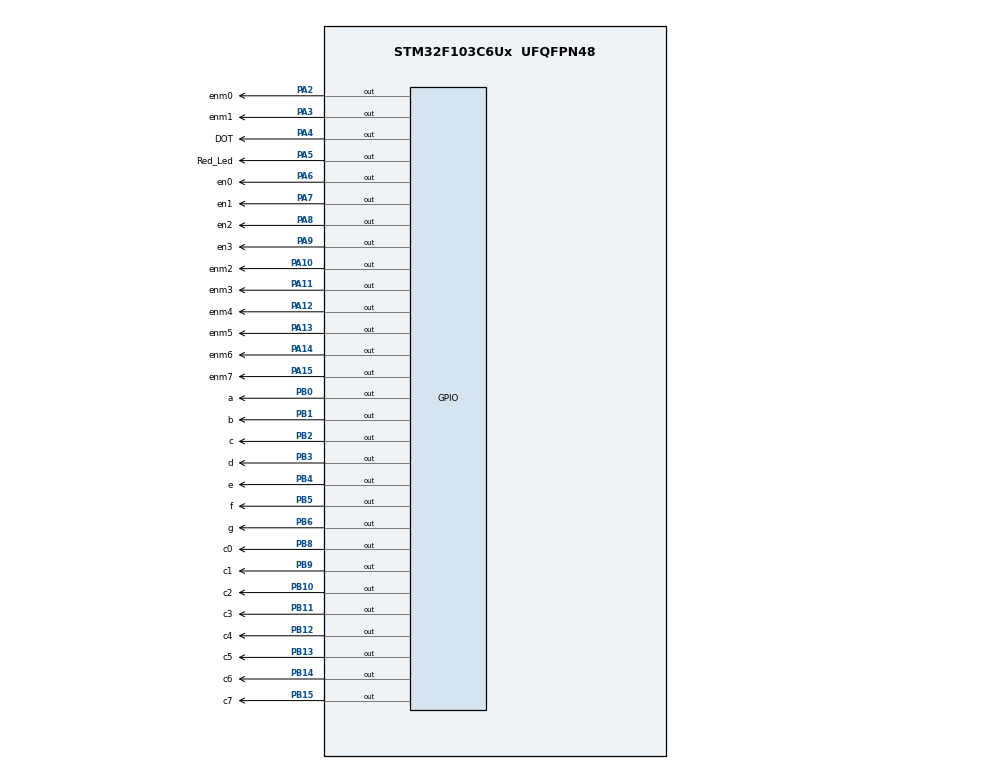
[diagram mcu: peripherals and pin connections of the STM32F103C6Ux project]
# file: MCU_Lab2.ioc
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Mcu.Family=STM32F1
Mcu.Name=STM32F103C6Ux
Mcu.Package=UFQFPN48
NVIC.PriorityGroup=NVIC_PRIORITYGROUP_4
NVIC.TIM2_IRQn=true\:0\:0\:false\:false\:true\:true\:true
PA10.GPIO_Label=enm2
PA10.Signal=GPIO_Output
PA11.GPIO_Label=enm3
PA11.Signal=GPIO_Output
PA12.GPIO_Label=enm4
PA12.Signal=GPIO_Output
PA13.GPIO_Label=enm5
PA13.Signal=GPIO_Output
PA14.GPIO_Label=enm6
PA14.Signal=GPIO_Output
PA15.GPIO_Label=enm7
PA15.Signal=GPIO_Output
PA2.GPIO_Label=enm0
PA2.Signal=GPIO_Output
PA3.GPIO_Label=enm1
PA3.Signal=GPIO_Output
PA4.GPIO_Label=DOT
PA4.Signal=GPIO_Output
PA5.GPIO_Label=Red_Led
PA5.Signal=GPIO_Output
PA6.GPIO_Label=en0
PA6.Signal=GPIO_Output
PA7.GPIO_Label=en1
PA7.Signal=GPIO_Output
PA8.GPIO_Label=en2
PA8.Signal=GPIO_Output
PA9.GPIO_Label=en3
PA9.Signal=GPIO_Output
PB0.GPIO_Label=a
PB0.Signal=GPIO_Output
PB1.GPIO_Label=b
PB1.Signal=GPIO_Output
PB10.GPIO_Label=c2
PB10.Signal=GPIO_Output
PB11.GPIO_Label=c3
PB11.Signal=GPIO_Output
PB12.GPIO_Label=c4
PB12.Signal=GPIO_Output
PB13.GPIO_Label=c5
PB13.Signal=GPIO_Output
PB14.GPIO_Label=c6
PB14.Signal=GPIO_Output
PB15.GPIO_Label=c7
PB15.Signal=GPIO_Output
PB2.GPIO_Label=c
PB2.Signal=GPIO_Output
PB3.GPIO_Label=d
PB3.Signal=GPIO_Output
PB4.GPIO_Label=e
PB4.Signal=GPIO_Output
PB5.GPIO_Label=f
PB5.Signal=GPIO_Output
PB6.GPIO_Label=g
PB6.Signal=GPIO_Output
PB8.GPIO_Label=c0
PB8.Signal=GPIO_Output
PB9.GPIO_Label=c1
PB9.Signal=GPIO_Output
ProjectManager.HeapSize=0x200
ProjectManager.StackSize=0x400
ProjectManager.TargetToolchain=STM32CubeIDE
RCC.APB1Freq_Value=8000000
RCC.APB2Freq_Value=8000000
TIM2.Period=9
TIM2.Prescaler=7999
VP_SYS_VS_ND.Mode=No_Debug
VP_TIM2_VS_ClockSourceINT.Mode=Internal
board=custom

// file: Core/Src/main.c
/* USER CODE BEGIN Header */
/**
  ******************************************************************************
  * @file           : main.c
  * @brief          : Main program body
  ******************************************************************************
  * @attention
  *
  * <h2><center>&copy; Copyright (c) 2025 STMicroelectronics.
  * All rights reserved.</center></h2>
  *
  * This software component is licensed by ST under BSD 3-Clause license,
  * the "License"; You may not use this file except in compliance with the
  * License. You may obtain a copy of the License at:
  *                        opensource.org/licenses/BSD-3-Clause
  *
  ******************************************************************************
  */
/* USER CODE END Header */
#include "main.h"

/* USER CODE BEGIN Includes */
#include "In_timer.h"
/* USER CODE END Includes */

TIM_HandleTypeDef htim2;

void SystemClock_Config(void);
static void MX_GPIO_Init(void);
static void MX_TIM2_Init(void);

/* USER CODE BEGIN 0 */
void display7SEG(int num, int a, int b, int c, int d, int e, int f, int g) {
    // Tắt hết các segment trước
    HAL_GPIO_WritePin(GPIOB, a|b|c|d|e|f|g, GPIO_PIN_SET);

    // Bật theo số cần hiển thị
    switch(num) {
        case 0: HAL_GPIO_WritePin(GPIOB, a|b|c|d|e|f, GPIO_PIN_RESET); break;
        case 1: HAL_GPIO_WritePin(GPIOB, b|c, GPIO_PIN_RESET); break;
        case 2: HAL_GPIO_WritePin(GPIOB, a|b|d|e|g, GPIO_PIN_RESET); break;
        case 3: HAL_GPIO_WritePin(GPIOB, a|b|c|d|g, GPIO_PIN_RESET); break;
        case 4: HAL_GPIO_WritePin(GPIOB, b|c|f|g, GPIO_PIN_RESET); break;
        case 5: HAL_GPIO_WritePin(GPIOB, a|c|d|f|g, GPIO_PIN_RESET); break;
        case 6: HAL_GPIO_WritePin(GPIOB, a|c|d|e|f|g, GPIO_PIN_RESET); break;
        case 7: HAL_GPIO_WritePin(GPIOB, a|b|c, GPIO_PIN_RESET); break;
        case 8: HAL_GPIO_WritePin(GPIOB, a|b|c|d|e|f|g, GPIO_PIN_RESET); break;
        case 9: HAL_GPIO_WritePin(GPIOB, a|b|c|d|f|g, GPIO_PIN_RESET); break;
        default: break;
    }
}

const int MAX_LED = 4;
int index_led = 0;
int led_buffer[4] = {1, 2, 3, 4};
void update7SEG(int index){
    // Tắt hết các EN
    HAL_GPIO_WritePin(GPIOA, en0_Pin|en1_Pin|en2_Pin|en3_Pin, GPIO_PIN_SET);

    switch(index){
        case 0:
            HAL_GPIO_WritePin(GPIOA, en0_Pin, GPIO_PIN_RESET);
            display7SEG(led_buffer[0],a_Pin,b_Pin,c_Pin,d_Pin,e_Pin,f_Pin,g_Pin);
            break;
        case 1:
            HAL_GPIO_WritePin(GPIOA, en1_Pin, GPIO_PIN_RESET);
            display7SEG(led_buffer[1],a_Pin,b_Pin,c_Pin,d_Pin,e_Pin,f_Pin,g_Pin);
            break;
        case 2:
            HAL_GPIO_WritePin(GPIOA, en2_Pin, GPIO_PIN_RESET);
            display7SEG(led_buffer[2],a_Pin,b_Pin,c_Pin,d_Pin,e_Pin,f_Pin,g_Pin);
            break;
        case 3:
            HAL_GPIO_WritePin(GPIOA, en3_Pin, GPIO_PIN_RESET);
            display7SEG(led_buffer[3], a_Pin,b_Pin,c_Pin,d_Pin,e_Pin,f_Pin,g_Pin);
            break;
        default: break;
    }
}
int hour = 15, minute = 8, second = 50;
void updateClockBuffer(void) {
    // Gi�?
    led_buffer[0] = hour / 10;   // hàng chục gi�?
    led_buffer[1] = hour % 10;   // hàng đơn vị gi�?

    // Phút
    led_buffer[2] = minute / 10; // hàng chục phút
    led_buffer[3] = minute % 10; // hàng đơn vị phút
}

//Matrix part

const uint8_t font7x5[][5] = {
    // 'T'
    {0x02, 0x02, 0xFE, 0x02, 0x02},
    // 'U'
    {0x7E, 0x80, 0x80, 0x80, 0x7E},
    // 'A'
    {0xFC, 0x22, 0x22, 0x22, 0xFC},
    // 'N'
	{0xFE, 0x04, 0x10, 0x40, 0xFE},
};

// Văn bản cần hiển thị
const char text[] = "TUAN";

#define MAX_SCROLL_COLS 64
uint8_t scrollBuffer[MAX_SCROLL_COLS];
int totalCols = 0;
int scrollOffset = 0;

const int MAX_LED_MATRIX = 8;
int index_led_matrix = 0;

void updateScrollMatrix(int rowIndex) {
    // Tắt tất cả hàng
    HAL_GPIO_WritePin(GPIOA, enm0_Pin|enm1_Pin|enm2_Pin|enm3_Pin
                            |enm4_Pin|enm5_Pin|enm6_Pin|enm7_Pin, GPIO_PIN_SET);

    // Lấy dữ liệu cho 8 cột bắt đầu từ scrollOffset
    int colData = 0;
    if (scrollOffset + rowIndex < totalCols) {
        colData = scrollBuffer[scrollOffset + rowIndex];
    } else {
        colData = 0x00;
    }

    // Xuất dữ liệu từng cột
    HAL_GPIO_WritePin(GPIOB, c0_Pin, (colData & 0x01) ? GPIO_PIN_RESET : GPIO_PIN_SET);
    HAL_GPIO_WritePin(GPIOB, c1_Pin, (colData & 0x02) ? GPIO_PIN_RESET : GPIO_PIN_SET);
    HAL_GPIO_WritePin(GPIOB, c2_Pin, (colData & 0x04) ? GPIO_PIN_RESET : GPIO_PIN_SET);
    HAL_GPIO_WritePin(GPIOB, c3_Pin, (colData & 0x08) ? GPIO_PIN_RESET : GPIO_PIN_SET);
    HAL_GPIO_WritePin(GPIOB, c4_Pin, (colData & 0x10) ? GPIO_PIN_RESET : GPIO_PIN_SET);
    HAL_GPIO_WritePin(GPIOB, c5_Pin, (colData & 0x20) ? GPIO_PIN_RESET : GPIO_PIN_SET);
    HAL_GPIO_WritePin(GPIOB, c6_Pin, (colData & 0x40) ? GPIO_PIN_RESET : GPIO_PIN_SET);
    HAL_GPIO_WritePin(GPIOB, c7_Pin, (colData & 0x80) ? GPIO_PIN_RESET : GPIO_PIN_SET);

    // Bật hàng hiện tại
    switch(rowIndex){
        case 0: HAL_GPIO_WritePin(GPIOA, enm0_Pin, GPIO_PIN_RESET); break;
        case 1: HAL_GPIO_WritePin(GPIOA, enm1_Pin, GPIO_PIN_RESET); break;
        case 2: HAL_GPIO_WritePin(GPIOA, enm2_Pin, GPIO_PIN_RESET); break;
        case 3: HAL_GPIO_WritePin(GPIOA, enm3_Pin, GPIO_PIN_RESET); break;
        case 4: HAL_GPIO_WritePin(GPIOA, enm4_Pin, GPIO_PIN_RESET); break;
        case 5: HAL_GPIO_WritePin(GPIOA, enm5_Pin, GPIO_PIN_RESET); break;
        case 6: HAL_GPIO_WritePin(GPIOA, enm6_Pin, GPIO_PIN_RESET); break;
        case 7: HAL_GPIO_WritePin(GPIOA, enm7_Pin, GPIO_PIN_RESET); break;
    }
}

/* USER CODE END 0 */

int main(void)
{
  /* USER CODE BEGIN 1 */

	// Tạo scrollBuffer cho chữ TUAN
	int idx = 0;
	for (int k = 0; k < sizeof(text)-1; k++) {
	    int charIndex;
	    switch(text[k]) {
	        case 'T': charIndex = 0; break;
	        case 'U': charIndex = 1; break;
	        case 'A': charIndex = 2; break;
	        case 'N': charIndex = 3; break;
	        default: charIndex = 0; break;
	    }
	    for (int c = 0; c < 5; c++) {
	        scrollBuffer[idx++] = font7x5[charIndex][c];
	    }
	    scrollBuffer[idx++] = 0x00; // 1 cột trống
	}
	totalCols = idx;

  /* USER CODE END 1 */

  /* MCU Configuration--------------------------------------------------------*/

  /* Reset of all peripherals, Initializes the Flash interface and the Systick. */
  HAL_Init();

  /* Configure the system clock */
  SystemClock_Config();

  /* Initialize all configured peripherals */
  MX_GPIO_Init();
  MX_TIM2_Init();
  /* USER CODE BEGIN 2 */
  HAL_TIM_Base_Start_IT(&htim2);
  /* USER CODE END 2 */

  /* Infinite loop */
  /* USER CODE BEGIN WHILE */
  setTimer1(10);
  setTimer2(5);
  setTimer3(100);
  setTimer4(5);
  while (1)
  {
    /* USER CODE END WHILE */

    /* USER CODE BEGIN 3 */
	  if(timer1_flag==1){
		  setTimer1(10);
		//TODO
				HAL_GPIO_TogglePin(GPIOA, Red_Led_Pin);
		//Dong ho
		        second++;
		        if (second >= 60) {
		            second = 0;
		            minute++;
		            if (minute >= 60) {
		                minute = 0;
		                hour++;
		                if (hour >= 24) hour = 0;
		            }
		        }

		        // Sau khi update gi�?-phút, nạp vào led_buffer
		        updateClockBuffer();
	  }

	    if(timer2_flag==1){
	        setTimer2(5);
	        // Quét 7SEG
	        update7SEG(index_led);
	        index_led++;
	        if(index_led >= MAX_LED) index_led = 0;
	    }

	    if(timer3_flag==1){
	    	setTimer3(100);
	    	HAL_GPIO_TogglePin(GPIOA, DOT_Pin);
	    }

		  if(timer4_flag==1){
		      setTimer4(5);
		      updateScrollMatrix(index_led_matrix);
		      index_led_matrix++;
		      if(index_led_matrix >= 8) {
		          index_led_matrix = 0;
		          // Mỗi vòng quét xong 8 hàng thì dịch offset
		          scrollOffset++;
		          if(scrollOffset >= totalCols) scrollOffset = 0;
		      }
		  }
  }
  /* USER CODE END 3 */
}

void SystemClock_Config(void)
{
  RCC_OscInitTypeDef RCC_OscInitStruct = {0};
  RCC_ClkInitTypeDef RCC_ClkInitStruct = {0};

  /** Initializes the RCC Oscillators according to the specified parameters
  * in the RCC_OscInitTypeDef structure.
  */
  RCC_OscInitStruct.OscillatorType = RCC_OSCILLATORTYPE_HSI;
  RCC_OscInitStruct.HSIState = RCC_HSI_ON;
  RCC_OscInitStruct.HSICalibrationValue = RCC_HSICALIBRATION_DEFAULT;
  RCC_OscInitStruct.PLL.PLLState = RCC_PLL_NONE;
  if (HAL_RCC_OscConfig(&RCC_OscInitStruct) != HAL_OK)
  {
    Error_Handler();
  }
  /** Initializes the CPU, AHB and APB buses clocks
  */
  RCC_ClkInitStruct.ClockType = RCC_CLOCKTYPE_HCLK|RCC_CLOCKTYPE_SYSCLK
                              |RCC_CLOCKTYPE_PCLK1|RCC_CLOCKTYPE_PCLK2;
  RCC_ClkInitStruct.SYSCLKSource = RCC_SYSCLKSOURCE_HSI;
  RCC_ClkInitStruct.AHBCLKDivider = RCC_SYSCLK_DIV1;
  RCC_ClkInitStruct.APB1CLKDivider = RCC_HCLK_DIV1;
  RCC_ClkInitStruct.APB2CLKDivider = RCC_HCLK_DIV1;

  if (HAL_RCC_ClockConfig(&RCC_ClkInitStruct, FLASH_LATENCY_0) != HAL_OK)
  {
    Error_Handler();
  }
}

static void MX_TIM2_Init(void)
{

  TIM_ClockConfigTypeDef sClockSourceConfig = {0};
  TIM_MasterConfigTypeDef sMasterConfig = {0};

  htim2.Instance = TIM2;
  htim2.Init.Prescaler = 7999;
  htim2.Init.CounterMode = TIM_COUNTERMODE_UP;
  htim2.Init.Period = 9;
  htim2.Init.ClockDivision = TIM_CLOCKDIVISION_DIV1;
  htim2.Init.AutoReloadPreload = TIM_AUTORELOAD_PRELOAD_DISABLE;
  if (HAL_TIM_Base_Init(&htim2) != HAL_OK)
  {
    Error_Handler();
  }
  sClockSourceConfig.ClockSource = TIM_CLOCKSOURCE_INTERNAL;
  if (HAL_TIM_ConfigClockSource(&htim2, &sClockSourceConfig) != HAL_OK)
  {
    Error_Handler();
  }
  sMasterConfig.MasterOutputTrigger = TIM_TRGO_RESET;
  sMasterConfig.MasterSlaveMode = TIM_MASTERSLAVEMODE_DISABLE;
  if (HAL_TIMEx_MasterConfigSynchronization(&htim2, &sMasterConfig) != HAL_OK)
  {
    Error_Handler();
  }

}

static void MX_GPIO_Init(void)
{
  GPIO_InitTypeDef GPIO_InitStruct = {0};

  /* GPIO Ports Clock Enable */
  __HAL_RCC_GPIOA_CLK_ENABLE();
  __HAL_RCC_GPIOB_CLK_ENABLE();

  /*Configure GPIO pin Output Level */
  HAL_GPIO_WritePin(GPIOA, enm0_Pin|enm1_Pin|DOT_Pin|Red_Led_Pin
                          |en0_Pin|en1_Pin|en2_Pin|en3_Pin
                          |enm2_Pin|enm3_Pin|enm4_Pin|enm5_Pin
                          |enm6_Pin|enm7_Pin, GPIO_PIN_RESET);

  /*Configure GPIO pin Output Level */
  HAL_GPIO_WritePin(GPIOB, a_Pin|b_Pin|c_Pin|c2_Pin
                          |c3_Pin|c4_Pin|c5_Pin|c6_Pin
                          |c7_Pin|d_Pin|e_Pin|f_Pin
                          |g_Pin|c0_Pin|c1_Pin, GPIO_PIN_RESET);

  /*Configure GPIO pins : enm0_Pin enm1_Pin DOT_Pin Red_Led_Pin
                           en0_Pin en1_Pin en2_Pin en3_Pin
                           enm2_Pin enm3_Pin enm4_Pin enm5_Pin
                           enm6_Pin enm7_Pin */
  GPIO_InitStruct.Pin = enm0_Pin|enm1_Pin|DOT_Pin|Red_Led_Pin
                          |en0_Pin|en1_Pin|en2_Pin|en3_Pin
                          |enm2_Pin|enm3_Pin|enm4_Pin|enm5_Pin
                          |enm6_Pin|enm7_Pin;
  GPIO_InitStruct.Mode = GPIO_MODE_OUTPUT_PP;
  GPIO_InitStruct.Pull = GPIO_NOPULL;
  GPIO_InitStruct.Speed = GPIO_SPEED_FREQ_LOW;
  HAL_GPIO_Init(GPIOA, &GPIO_InitStruct);

  /*Configure GPIO pins : a_Pin b_Pin c_Pin c2_Pin
                           c3_Pin c4_Pin c5_Pin c6_Pin
                           c7_Pin d_Pin e_Pin f_Pin
                           g_Pin c0_Pin c1_Pin */
  GPIO_InitStruct.Pin = a_Pin|b_Pin|c_Pin|c2_Pin
                          |c3_Pin|c4_Pin|c5_Pin|c6_Pin
                          |c7_Pin|d_Pin|e_Pin|f_Pin
                          |g_Pin|c0_Pin|c1_Pin;
  GPIO_InitStruct.Mode = GPIO_MODE_OUTPUT_PP;
  GPIO_InitStruct.Pull = GPIO_NOPULL;
  GPIO_InitStruct.Speed = GPIO_SPEED_FREQ_LOW;
  HAL_GPIO_Init(GPIOB, &GPIO_InitStruct);

}

/* USER CODE BEGIN 4 */
 void HAL_TIM_PeriodElapsedCallback(TIM_HandleTypeDef *htim){
     timerRun();
 }
/* USER CODE END 4 */

void Error_Handler(void)
{
  __disable_irq();
  while (1)
  {
  }
}

/************************ (C) COPYRIGHT STMicroelectronics *****END OF FILE****/
